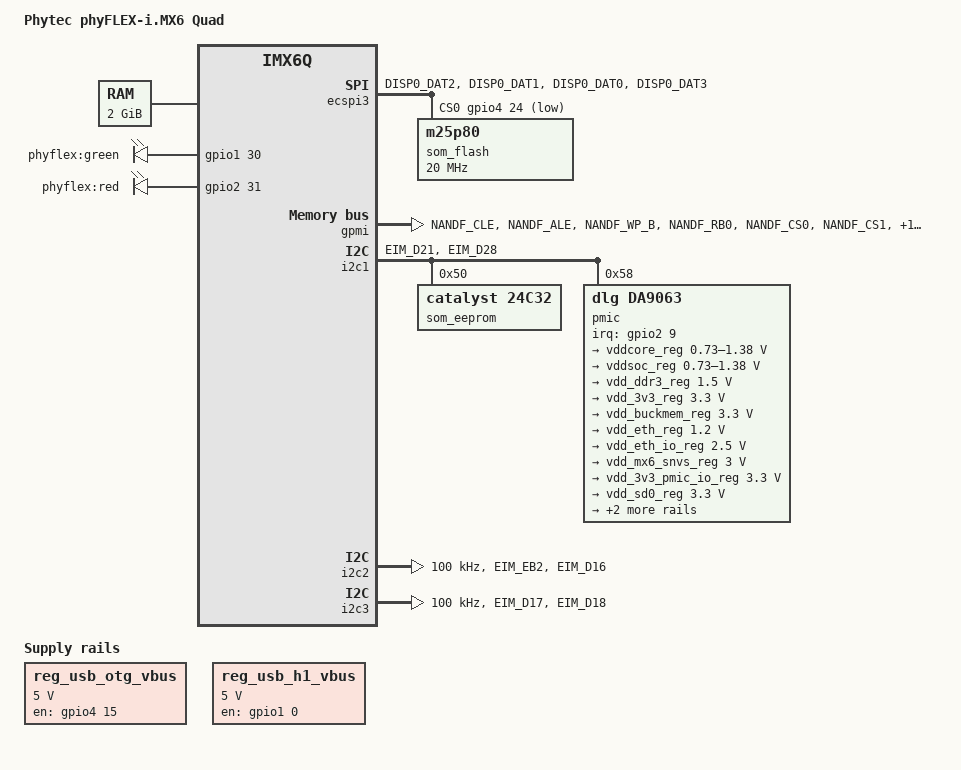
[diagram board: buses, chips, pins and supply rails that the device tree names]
// SPDX-License-Identifier: GPL-2.0-or-later
/*
 * Copyright 2013 Christian Hemp, Phytec Messtechnik GmbH
 */

#include <dt-bindings/gpio/gpio.h>

/ {
	model = "Phytec phyFLEX-i.MX6 Quad";
	compatible = "phytec,imx6q-pfla02", "fsl,imx6q";

	memory@10000000 {
		device_type = "memory";
		reg = <0x10000000 0x80000000>;
	};

	regulators {
		compatible = "simple-bus";
		#address-cells = <1>;
		#size-cells = <0>;

		reg_usb_otg_vbus: regulator@0 {
			compatible = "regulator-fixed";
			reg = <0>;
			regulator-name = "usb_otg_vbus";
			regulator-min-microvolt = <5000000>;
			regulator-max-microvolt = <5000000>;
			gpio = <&gpio4 15 0>;
			enable-active-high;
		};

		reg_usb_h1_vbus: regulator@1 {
			compatible = "regulator-fixed";
			pinctrl-names = "default";
			pinctrl-0 = <&pinctrl_usbh1_vbus>;
			reg = <1>;
			regulator-name = "usb_h1_vbus";
			regulator-min-microvolt = <5000000>;
			regulator-max-microvolt = <5000000>;
			gpio = <&gpio1 0 0>;
			enable-active-high;
		};
	};

	gpio_leds: leds {
		pinctrl-names = "default";
		pinctrl-0 = <&pinctrl_leds>;
		compatible = "gpio-leds";

		green {
			label = "phyflex:green";
			gpios = <&gpio1 30 0>;
		};

		red {
			label = "phyflex:red";
			gpios = <&gpio2 31 0>;
		};
	};
};

&audmux {
	pinctrl-names = "default";
	pinctrl-0 = <&pinctrl_audmux>;
	status = "disabled";
};

&can1 {
	pinctrl-names = "default";
	pinctrl-0 = <&pinctrl_flexcan1>;
	status = "disabled";
};

&ecspi3 {
	pinctrl-names = "default";
	pinctrl-0 = <&pinctrl_ecspi3>;
	status = "okay";
	cs-gpios = <&gpio4 24 GPIO_ACTIVE_LOW>;

	som_flash: flash@0 {
		compatible = "m25p80", "jedec,spi-nor";
		spi-max-frequency = <20000000>;
		reg = <0>;
	};
};

&fec {
	pinctrl-names = "default";
	pinctrl-0 = <&pinctrl_enet>;
	phy-handle = <&ethphy>;
	phy-mode = "rgmii";
	phy-reset-duration = <10>; /* in msecs */
	phy-reset-gpios = <&gpio3 23 GPIO_ACTIVE_LOW>;
	phy-supply = <&vdd_eth_io_reg>;
	status = "disabled";

	fec_mdio: mdio {
		#address-cells = <1>;
		#size-cells = <0>;

		ethphy: ethernet-phy@0 {
			compatible = "ethernet-phy-ieee802.3-c22";
			reg = <0>;
			txc-skew-ps = <1680>;
			rxc-skew-ps = <1860>;
		};
	};
};

&gpmi {
	pinctrl-names = "default";
	pinctrl-0 = <&pinctrl_gpmi_nand>;
	nand-on-flash-bbt;
	status = "okay";
};

&i2c1 {
	pinctrl-names = "default";
	pinctrl-0 = <&pinctrl_i2c1>;
	status = "okay";

	som_eeprom: eeprom@50 {
		compatible = "catalyst,24c32", "atmel,24c32";
		pagesize = <32>;
		reg = <0x50>;
	};

	pmic@58 {
		pinctrl-names = "default";
		pinctrl-0 = <&pinctrl_pmic>;
		compatible = "dlg,da9063";
		reg = <0x58>;
		interrupt-parent = <&gpio2>;
		interrupts = <9 IRQ_TYPE_LEVEL_LOW>; /* active-low GPIO2_9 */
		interrupt-controller;

		regulators {
			vddcore_reg: bcore1 {
				regulator-min-microvolt = <730000>;
				regulator-max-microvolt = <1380000>;
				regulator-always-on;
			};

			vddsoc_reg: bcore2 {
				regulator-min-microvolt = <730000>;
				regulator-max-microvolt = <1380000>;
				regulator-always-on;
			};

			vdd_ddr3_reg: bpro {
				regulator-min-microvolt = <1500000>;
				regulator-max-microvolt = <1500000>;
				regulator-always-on;
			};

			vdd_3v3_reg: bperi {
				regulator-min-microvolt = <3300000>;
				regulator-max-microvolt = <3300000>;
				regulator-always-on;
			};

			vdd_buckmem_reg: bmem {
				regulator-min-microvolt = <3300000>;
				regulator-max-microvolt = <3300000>;
				regulator-always-on;
			};

			vdd_eth_reg: bio {
				regulator-min-microvolt = <1200000>;
				regulator-max-microvolt = <1200000>;
				regulator-always-on;
			};

			vdd_eth_io_reg: ldo4 {
				regulator-min-microvolt = <2500000>;
				regulator-max-microvolt = <2500000>;
				regulator-always-on;
			};

			vdd_mx6_snvs_reg: ldo5 {
				regulator-min-microvolt = <3000000>;
				regulator-max-microvolt = <3000000>;
				regulator-always-on;
			};

			vdd_3v3_pmic_io_reg: ldo6 {
				regulator-min-microvolt = <3300000>;
				regulator-max-microvolt = <3300000>;
				regulator-always-on;
			};

			vdd_sd0_reg: ldo9 {
				regulator-min-microvolt = <3300000>;
				regulator-max-microvolt = <3300000>;
			};

			vdd_sd1_reg: ldo10 {
				regulator-min-microvolt = <3300000>;
				regulator-max-microvolt = <3300000>;
			};

			vdd_mx6_high_reg: ldo11 {
				regulator-min-microvolt = <3000000>;
				regulator-max-microvolt = <3000000>;
				regulator-always-on;
			};
		};
	};
};

&i2c2 {
	pinctrl-names = "default";
	pinctrl-0 = <&pinctrl_i2c2>;
	clock-frequency = <100000>;
};

&i2c3 {
	pinctrl-names = "default";
	pinctrl-0 = <&pinctrl_i2c3>;
	clock-frequency = <100000>;
};

&iomuxc {
	imx6q-phytec-pfla02 {
		pinctrl_ecspi3: ecspi3grp {
			fsl,pins = <
				MX6QDL_PAD_DISP0_DAT2__ECSPI3_MISO	0x100b1
				MX6QDL_PAD_DISP0_DAT1__ECSPI3_MOSI	0x100b1
				MX6QDL_PAD_DISP0_DAT0__ECSPI3_SCLK	0x100b1
				MX6QDL_PAD_DISP0_DAT3__GPIO4_IO24	0x80000000 /* CS0 */
			>;
		};

		pinctrl_enet: enetgrp {
			fsl,pins = <
				MX6QDL_PAD_ENET_MDIO__ENET_MDIO		0x1b0b0
				MX6QDL_PAD_ENET_MDC__ENET_MDC		0x1b0b0
				MX6QDL_PAD_RGMII_TXC__RGMII_TXC		0x1b030
				MX6QDL_PAD_RGMII_TD0__RGMII_TD0		0x1b030
				MX6QDL_PAD_RGMII_TD1__RGMII_TD1		0x1b030
				MX6QDL_PAD_RGMII_TD2__RGMII_TD2		0x1b030
				MX6QDL_PAD_RGMII_TD3__RGMII_TD3		0x1b030
				MX6QDL_PAD_RGMII_TX_CTL__RGMII_TX_CTL	0x1b030
				MX6QDL_PAD_ENET_REF_CLK__ENET_TX_CLK	0x1b0b0
				MX6QDL_PAD_RGMII_RXC__RGMII_RXC		0x1b030
				MX6QDL_PAD_RGMII_RD0__RGMII_RD0		0x1b030
				MX6QDL_PAD_RGMII_RD1__RGMII_RD1		0x1b030
				MX6QDL_PAD_RGMII_RD2__RGMII_RD2		0x1b030
				MX6QDL_PAD_RGMII_RD3__RGMII_RD3		0x1b030
				MX6QDL_PAD_RGMII_RX_CTL__RGMII_RX_CTL	0x1b030
				MX6QDL_PAD_ENET_TX_EN__ENET_TX_EN	0x1b0b0
				MX6QDL_PAD_EIM_D23__GPIO3_IO23		0x80000000 /* Reset GPIO */
			>;
		};

		pinctrl_flexcan1: flexcan1grp {
			fsl,pins = <
				MX6QDL_PAD_KEY_ROW2__FLEXCAN1_RX	0x1b0b0
				MX6QDL_PAD_KEY_COL2__FLEXCAN1_TX	0x1b0b0
			>;
		};

		pinctrl_gpmi_nand: gpminandgrp {
			fsl,pins = <
				MX6QDL_PAD_NANDF_CLE__NAND_CLE		0xb0b1
				MX6QDL_PAD_NANDF_ALE__NAND_ALE		0xb0b1
				MX6QDL_PAD_NANDF_WP_B__NAND_WP_B	0xb0b1
				MX6QDL_PAD_NANDF_RB0__NAND_READY_B	0xb000
				MX6QDL_PAD_NANDF_CS0__NAND_CE0_B	0xb0b1
				MX6QDL_PAD_NANDF_CS1__NAND_CE1_B	0xb0b1
				MX6QDL_PAD_SD4_CMD__NAND_RE_B		0xb0b1
				MX6QDL_PAD_SD4_CLK__NAND_WE_B		0xb0b1
				MX6QDL_PAD_NANDF_D0__NAND_DATA00	0xb0b1
				MX6QDL_PAD_NANDF_D1__NAND_DATA01	0xb0b1
				MX6QDL_PAD_NANDF_D2__NAND_DATA02	0xb0b1
				MX6QDL_PAD_NANDF_D3__NAND_DATA03	0xb0b1
				MX6QDL_PAD_NANDF_D4__NAND_DATA04	0xb0b1
				MX6QDL_PAD_NANDF_D5__NAND_DATA05	0xb0b1
				MX6QDL_PAD_NANDF_D6__NAND_DATA06	0xb0b1
				MX6QDL_PAD_NANDF_D7__NAND_DATA07	0xb0b1
				MX6QDL_PAD_SD4_DAT0__NAND_DQS		0x00b1
			>;
		};

		pinctrl_i2c1: i2c1grp {
			fsl,pins = <
				MX6QDL_PAD_EIM_D21__I2C1_SCL		0x4001b8b1
				MX6QDL_PAD_EIM_D28__I2C1_SDA		0x4001b8b1
			>;
		};

		pinctrl_i2c2: i2c2grp {
			fsl,pins = <
				MX6QDL_PAD_EIM_EB2__I2C2_SCL		0x4001b8b1
				MX6QDL_PAD_EIM_D16__I2C2_SDA		0x4001b8b1
			>;
		};

		pinctrl_i2c3: i2c3grp {
			fsl,pins = <
				MX6QDL_PAD_EIM_D17__I2C3_SCL		0x4001b8b1
				MX6QDL_PAD_EIM_D18__I2C3_SDA		0x4001b8b1
			>;
		};

		pinctrl_leds: ledsgrp {
			fsl,pins = <
				MX6QDL_PAD_ENET_TXD0__GPIO1_IO30	0x80000000 /* Green LED */
				MX6QDL_PAD_EIM_EB3__GPIO2_IO31		0x80000000 /* Red LED */
			>;
		};

		pinctrl_pcie: pciegrp {
			fsl,pins = <MX6QDL_PAD_DI0_PIN15__GPIO4_IO17  0x80000000>;
		};

		pinctrl_pmic: pmicgrp {
			fsl,pins = <MX6QDL_PAD_SD4_DAT1__GPIO2_IO09	0x80000000>; /* PMIC interrupt */
		};

		pinctrl_uart3: uart3grp {
			fsl,pins = <
				MX6QDL_PAD_EIM_D24__UART3_TX_DATA	0x1b0b1
				MX6QDL_PAD_EIM_D25__UART3_RX_DATA	0x1b0b1
				MX6QDL_PAD_EIM_D30__UART3_RTS_B		0x1b0b1
				MX6QDL_PAD_EIM_D31__UART3_CTS_B		0x1b0b1
			>;
		};

		pinctrl_uart4: uart4grp {
			fsl,pins = <
				MX6QDL_PAD_KEY_COL0__UART4_TX_DATA	0x1b0b1
				MX6QDL_PAD_KEY_ROW0__UART4_RX_DATA	0x1b0b1
			>;
		};

		pinctrl_usbh1_vbus: usbh1vbusgrp {
			fsl,pins = <
				MX6QDL_PAD_GPIO_0__GPIO1_IO00		0x1b0b0
			>;
		};

		pinctrl_usbotg: usbotggrp {
			fsl,pins = <
				MX6QDL_PAD_GPIO_1__USB_OTG_ID		0x17059
				MX6QDL_PAD_KEY_COL4__USB_OTG_OC		0x1b0b0
				MX6QDL_PAD_KEY_ROW4__GPIO4_IO15		0x80000000
			>;
		};

		pinctrl_usdhc2: usdhc2grp {
			fsl,pins = <
				MX6QDL_PAD_SD2_CMD__SD2_CMD		0x17059
				MX6QDL_PAD_SD2_CLK__SD2_CLK		0x10059
				MX6QDL_PAD_SD2_DAT0__SD2_DATA0		0x17059
				MX6QDL_PAD_SD2_DAT1__SD2_DATA1		0x17059
				MX6QDL_PAD_SD2_DAT2__SD2_DATA2		0x17059
				MX6QDL_PAD_SD2_DAT3__SD2_DATA3		0x17059
			>;
		};

		pinctrl_usdhc3: usdhc3grp {
			fsl,pins = <
				MX6QDL_PAD_SD3_CMD__SD3_CMD		0x17059
				MX6QDL_PAD_SD3_CLK__SD3_CLK		0x10059
				MX6QDL_PAD_SD3_DAT0__SD3_DATA0		0x17059
				MX6QDL_PAD_SD3_DAT1__SD3_DATA1		0x17059
				MX6QDL_PAD_SD3_DAT2__SD3_DATA2		0x17059
				MX6QDL_PAD_SD3_DAT3__SD3_DATA3		0x17059
			>;
		};

		pinctrl_usdhc3_cdwp: usdhc3cdwp {
			fsl,pins = <
				MX6QDL_PAD_ENET_RXD0__GPIO1_IO27 0x80000000
				MX6QDL_PAD_ENET_TXD1__GPIO1_IO29 0x80000000
			>;
		};

		pinctrl_audmux: audmuxgrp {
			fsl,pins = <
				MX6QDL_PAD_DISP0_DAT16__AUD5_TXC	0x130b0
				MX6QDL_PAD_DISP0_DAT17__AUD5_TXD	0x110b0
				MX6QDL_PAD_DISP0_DAT18__AUD5_TXFS	0x130b0
				MX6QDL_PAD_DISP0_DAT19__AUD5_RXD	0x130b0
			>;
		};
	};
};

&pcie {
	pinctrl-names = "default";
	pinctrl-0 = <&pinctrl_pcie>;
	reset-gpio = <&gpio4 17 GPIO_ACTIVE_LOW>;
	status = "disabled";
};

&reg_arm {
	vin-supply = <&vddcore_reg>;
};

&reg_pu {
	vin-supply = <&vddsoc_reg>;
};

&reg_soc {
	vin-supply = <&vddsoc_reg>;
};

&uart3 {
	pinctrl-names = "default";
	pinctrl-0 = <&pinctrl_uart3>;
	status = "disabled";
};

&uart4 {
	pinctrl-names = "default";
	pinctrl-0 = <&pinctrl_uart4>;
	status = "disabled";
};

&usbh1 {
	vbus-supply = <&reg_usb_h1_vbus>;
	status = "disabled";
};

&usbotg {
	vbus-supply = <&reg_usb_otg_vbus>;
	pinctrl-names = "default";
	pinctrl-0 = <&pinctrl_usbotg>;
	disable-over-current;
	status = "disabled";
};

&usdhc2 {
	pinctrl-names = "default";
	pinctrl-0 = <&pinctrl_usdhc2>;
	cd-gpios = <&gpio1 4 GPIO_ACTIVE_LOW>;
	wp-gpios = <&gpio1 2 GPIO_ACTIVE_HIGH>;
	vmmc-supply = <&vdd_sd1_reg>;
	status = "disabled";
};

&usdhc3 {
	pinctrl-names = "default";
	pinctrl-0 = <&pinctrl_usdhc3
		     &pinctrl_usdhc3_cdwp>;
	cd-gpios = <&gpio1 27 GPIO_ACTIVE_LOW>;
	wp-gpios = <&gpio1 29 GPIO_ACTIVE_HIGH>;
	vmmc-supply = <&vdd_sd0_reg>;
	status = "disabled";
};
